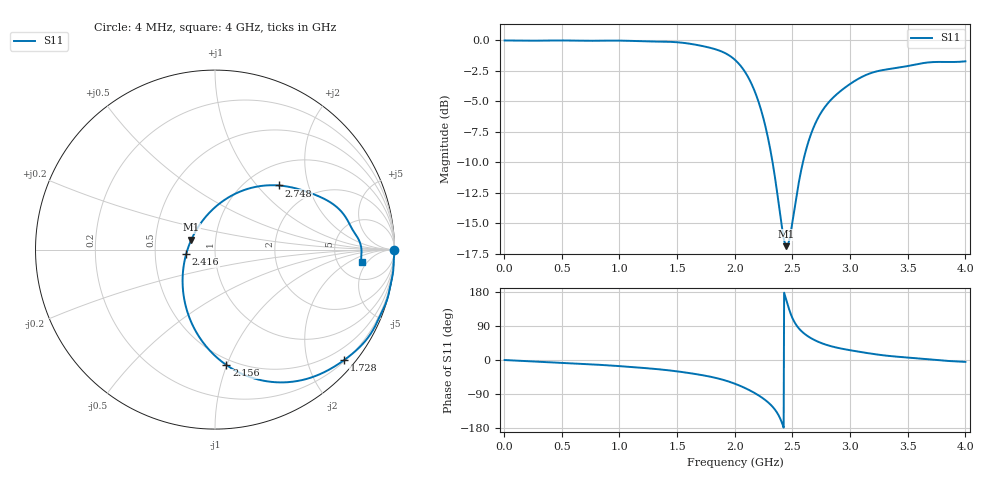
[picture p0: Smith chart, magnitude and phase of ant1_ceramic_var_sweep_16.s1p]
! TOUCHSTONE file generated by CST MICROWAVE STUDIO
! Date and time: Fri May  6 09:22:53 2022
! Project name: ant1_ceramic_sweep_10porcent.cst
! Parameters = {e=0.035; h=1.6; i=0.8; l1=0.5; l2=17; ls=80.8; wl=1.7; ws=30}
! Header version: 2018
! Port assignment regex: !\s*Touchstone port\s*([0-9]+)\s*=\s*(CST MWS port|CST DS port)\s*([0-9]+|Zmin|Zmax)\s*\(\"(.*)\"\)(\s*mode\s*([0-9]+))?.*
! Touchstone port assignment:
! Touchstone port 1 = CST MWS port 1 ("")
# GHz S DB R 50
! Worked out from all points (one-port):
!   1000 points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, 4 MHz to 4 GHz, reference 50 ohm
!   lowest |S11| = -16.9 dB at 2.448 GHz (marker M1), VSWR 1.33, Z = 38.1 + j4.31 ohm
!   |S11| at or under -10 dB: 2.328 GHz to 2.591 GHz (263.4 MHz wide, 10.7 % of centre)
!   S11 on the Smith chart (normalised r, x): 4 MHz: open; 1.728 GHz: 0.23, -2.69; 2.156 GHz: 0.45, -1.00; 2.416 GHz: 0.72, -0.04; 2.748 GHz: 1.38, +1.32; 4 GHz: 8.53, -3.73
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0.004  -0.00 -0.1
0.504  -0.00 -7.4
1.004  -0.01 -16.3
1.332  -0.09 -24.2
1.504  -0.15 -30.1
1.728  -0.47 -40.5
1.876  -0.87 -50.4
1.94  -1.16 -56.1
2.004  -1.61 -63.0
2.084  -2.51 -73.2
2.156  -3.79 -84.3
2.232  -5.83 -98.5
2.296  -8.36 -113.6
2.356  -11.72 -134.1
2.416  -15.79 -171.3
2.448  -16.89 157.2
2.472  -16.41 133.1
2.504  -14.65 108.1
2.56  -11.42 82.0
2.612  -9.19 67.4
2.676  -7.31 55.0
2.748  -5.93 45.0
2.856  -4.66 34.7
3.004  -3.55 25.6
3.216  -2.57 15.3
3.504  -2.09 6.4
3.7  -1.79 1.1
4  -1.71 -5.0
